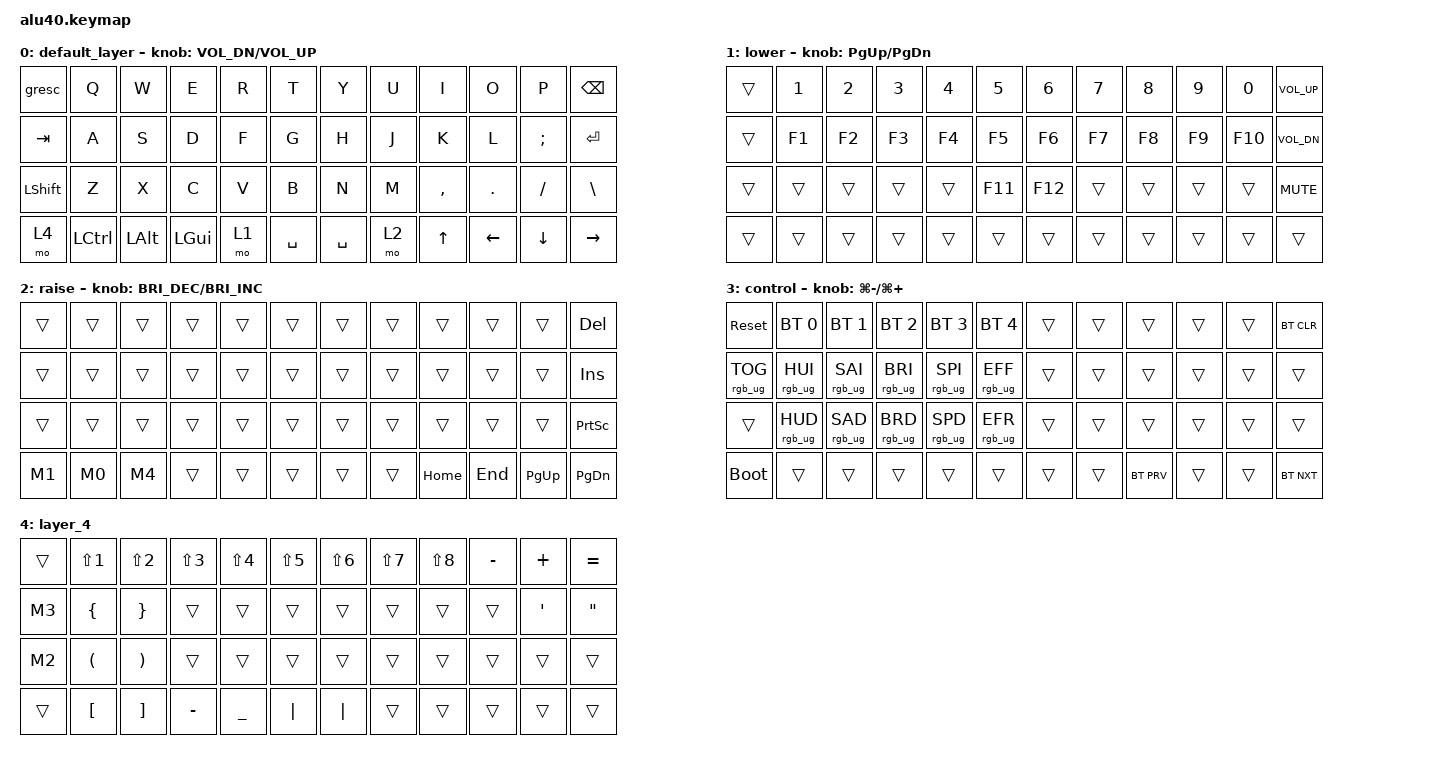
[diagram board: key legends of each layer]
/*
 * Copyright (c) 2022 The ZMK Contributors
 *
 * SPDX-License-Identifier: MIT
 */

#include <behaviors.dtsi>
#include <dt-bindings/zmk/bt.h>
#include <dt-bindings/zmk/keys.h>
#include <dt-bindings/zmk/rgb.h>

/ {
    macros {
        M1: M1 {
            compatible = "zmk,behavior-macro";
            label = "M1";
            #binding-cells = <0>;
            bindings = <&none &kp LS(C) &kp A &kp Z &kp S &kp N &kp A &kp V &kp E &kp N0 &kp QMARK &kp RET>;
        };

        M0: M0 {
            compatible = "zmk,behavior-macro";
            label = "M0";
            #binding-cells = <0>;
            bindings = <&none &kp N3 &kp N4 &kp N4 &kp N5 &kp LS(D) &kp A &kp R &kp K &kp R &kp Y &kp D &kp N1 &kp N9 &kp N9 &kp N1 &kp EXCL &kp QMARK &kp RET>;
        };

        M4: M4 {
            compatible = "zmk,behavior-macro";
            label = "M4";
            #binding-cells = <0>;
            bindings = <&none &kp Z &kp A &kp C &kp E &kp V &kp A &kp N &kp S &kp M &kp U &kp S &kp I &kp C &kp AT &kp G &kp M &kp A &kp I &kp L &kp DOT &kp C &kp O &kp M>;
            wait-ms = <1>;
        };

        M2: M2 {
            compatible = "zmk,behavior-macro";
            label = "M2";
            #binding-cells = <0>;
            bindings = <&none &kp DLLR &kp RBKT &kp RBRC &kp LEFT>;
        };

        M3: M3 {
            compatible = "zmk,behavior-macro";
            label = "M3";
            #binding-cells = <0>;
            bindings = <&none &kp LPAR &kp RPAR &kp SPACE &kp EQUAL &kp GT>;
        };
    };

    keymap {
        compatible = "zmk,keymap";

        default_layer {
            // -----------------------------------------------------------------------------------------
            // | ESC/~ |  Q   |  W   |  E   |  R   |  T   |   Y   |  U    |  I   |  O   |   P   | BSPC  |
            // | TAB   |  A   |  S   |  D   |  F   |  G   |   H   |  J    |  K   |  L   |   ;   |  '    |
            // | SHIFT |  Z   |  X   |  C   |  V   |  B   |   N   |  M    |  ,   |  .   |   /   |RET/SFT|
            // | PLAY  | LCTL | LALT | LGUI | LOWR |     SPACE    |  RAIS | LARW | UARW | DARW  |  RARW |

            bindings = <
&gresc     &kp Q      &kp W     &kp E     &kp R  &kp T      &kp Y      &kp U  &kp I         &kp O     &kp P     &kp BSPC
&kp TAB    &kp A      &kp S     &kp D     &kp F  &kp G      &kp H      &kp J  &kp K         &kp L     &kp SEMI  &kp ENTER
&kp LSHFT  &kp Z      &kp X     &kp C     &kp V  &kp B      &kp N      &kp M  &kp COMMA     &kp DOT   &kp FSLH  &kp BACKSLASH
&mo 4      &kp LCTRL  &kp LALT  &kp LGUI  &mo 1  &kp SPACE  &kp SPACE  &mo 2  &kp UP_ARROW  &kp LEFT  &kp DOWN  &kp RIGHT
            >;

            sensor-bindings = <&inc_dec_kp C_VOL_DN C_VOL_UP>;
        };

        lower {
            bindings = <
&trans  &kp NUMBER_1  &kp N2  &kp N3  &kp N4  &kp N5   &kp N6   &kp N7  &kp N8  &kp N9  &kp N0   &kp C_VOLUME_UP
&trans  &kp F1        &kp F2  &kp F3  &kp F4  &kp F5   &kp F6   &kp F7  &kp F8  &kp F9  &kp F10  &kp C_VOL_DN
&trans  &trans        &trans  &trans  &trans  &kp F11  &kp F12  &trans  &trans  &trans  &trans   &kp K_MUTE
&trans  &trans        &trans  &trans  &trans  &trans   &trans   &trans  &trans  &trans  &trans   &trans
            >;

            sensor-bindings = <&inc_dec_kp PG_UP PG_DN>;
        };

        raise {
            bindings = <
&trans  &trans  &trans  &trans  &trans  &trans  &trans  &trans  &trans    &trans   &trans       &kp DELETE
&trans  &trans  &trans  &trans  &trans  &trans  &trans  &trans  &trans    &trans   &trans       &kp INSERT
&trans  &trans  &trans  &trans  &trans  &trans  &trans  &trans  &trans    &trans   &trans       &kp PRINTSCREEN
&M1     &M0     &M4     &trans  &trans  &trans  &trans  &trans  &kp HOME  &kp END  &kp PAGE_UP  &kp PAGE_DOWN
            >;

            sensor-bindings = <&inc_dec_kp C_BRI_DEC C_BRI_INC>;
        };

        control {
            bindings = <
&sys_reset       &bt BT_SEL 0     &bt BT_SEL 1     &bt BT_SEL 2     &bt BT_SEL 3     &bt BT_SEL 4     &trans  &trans  &trans      &trans  &trans  &bt BT_CLR
&rgb_ug RGB_TOG  &rgb_ug RGB_HUI  &rgb_ug RGB_SAI  &rgb_ug RGB_BRI  &rgb_ug RGB_SPI  &rgb_ug RGB_EFF  &trans  &trans  &trans      &trans  &trans  &trans
&trans           &rgb_ug RGB_HUD  &rgb_ug RGB_SAD  &rgb_ug RGB_BRD  &rgb_ug RGB_SPD  &rgb_ug RGB_EFR  &trans  &trans  &trans      &trans  &trans  &trans
&bootloader      &trans           &trans           &trans           &trans           &trans           &trans  &trans  &bt BT_PRV  &trans  &trans  &bt BT_NXT
            >;

            sensor-bindings = <&inc_dec_kp LG(MINUS) LG(PLUS)>;
        };

        layer_4 {
            bindings = <
&trans  &kp LS(NUMBER_1)      &kp LS(NUMBER_2)       &kp LS(NUMBER_3)  &kp LS(NUMBER_4)  &kp LS(NUMBER_5)  &kp LS(NUMBER_6)  &kp LS(NUMBER_7)  &kp LS(NUMBER_8)  &kp MINUS  &kp PLUS          &kp EQUAL
&M3     &kp LEFT_BRACE        &kp RIGHT_BRACE        &trans            &trans            &trans            &trans            &trans            &trans            &trans     &kp SINGLE_QUOTE  &kp DOUBLE_QUOTES
&M2     &kp LEFT_PARENTHESIS  &kp RIGHT_PARENTHESIS  &trans            &trans            &trans            &trans            &trans            &trans            &trans     &trans            &trans
&trans  &kp LEFT_BRACKET      &kp RIGHT_BRACKET      &kp MINUS         &kp UNDERSCORE    &kp PIPE          &kp PIPE          &trans            &trans            &trans     &trans            &trans
            >;
        };
    };
};
